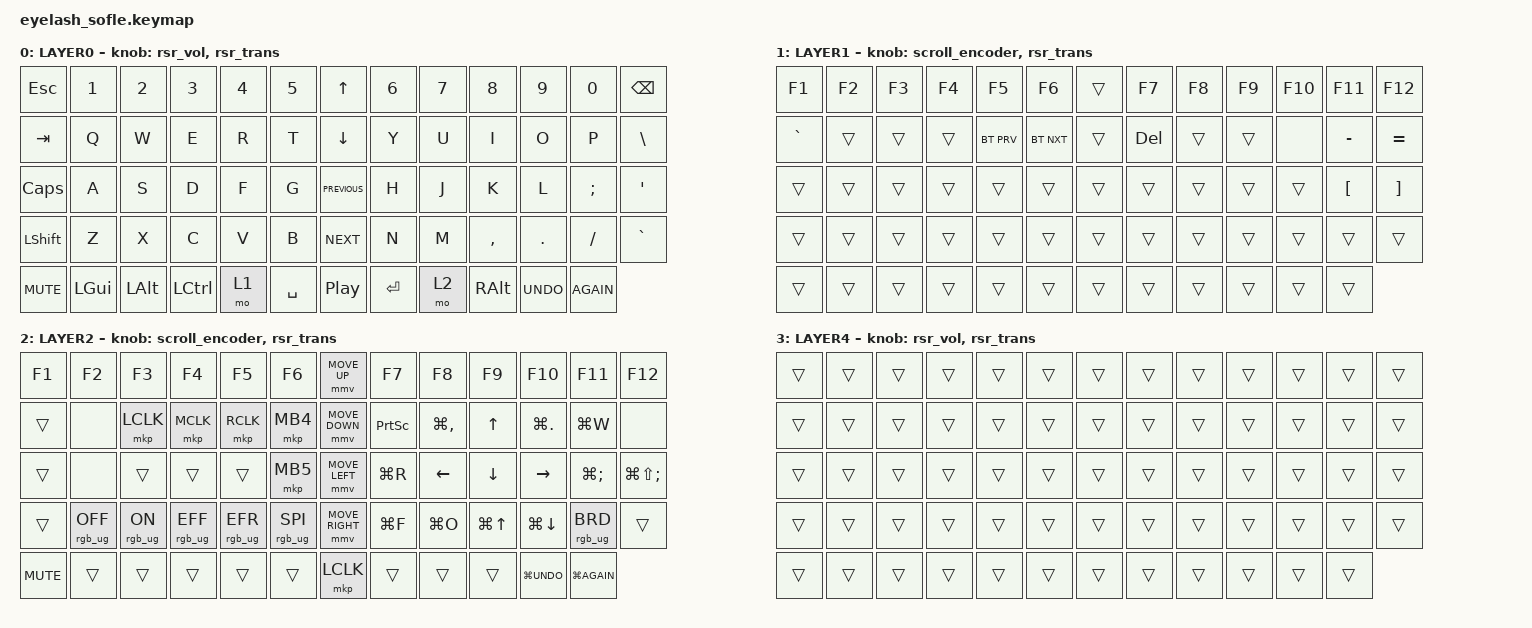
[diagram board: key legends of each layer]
#define ZMK_POINTING_DEFAULT_MOVE_VAL 1200  // 600
#define ZMK_POINTING_DEFAULT_SCRL_VAL 25   // 10

#include <input/processors.dtsi>
#include <zephyr/dt-bindings/input/input-event-codes.h>
#include <behaviors/runtime-sensor-rotate.dtsi>
#include <behaviors.dtsi>
#include <dt-bindings/zmk/bt.h>
#include <dt-bindings/zmk/keys.h>
#include <dt-bindings/zmk/pointing.h>
#include <dt-bindings/zmk/rgb.h>

&mmv_input_listener { input-processors = <&zip_xy_scaler 2 1>; };

&msc_input_listener { input-processors = <&zip_scroll_scaler 2 1>; };

&msc {
    acceleration-exponent = <1>;      // 0
    time-to-max-speed-ms = <100>;       // 300
    delay-ms = <0>;                   // 0
};

&mmv {
    time-to-max-speed-ms = <500>;
    acceleration-exponent = <1>;
    trigger-period-ms = <16>;
};

&soft_off { hold-time-ms = <2000>; };

/ {
    scroll_encoder: scroll_encoder {
        compatible = "zmk,behavior-sensor-rotate";
        #sensor-binding-cells = <0>;
        bindings = <&msc SCRL_DOWN>, <&msc SCRL_UP>;

        tap-ms = <100>;
    };

    behaviors {
        rsr_vol: rsr_vol {
            compatible = "zmk,behavior-runtime-sensor-rotate";
            #sensor-binding-cells = <0>;
            tap-ms = <5>;
            cw-binding = <&kp C_VOL_UP>;
            ccw-binding = <&kp C_VOL_DN>;
        };

        rsr_trans: rsr_trans {
            compatible = "zmk,behavior-runtime-sensor-rotate";
            #sensor-binding-cells = <0>;
            tap-ms = <0>;
        };
    };

    combos {
        compatible = "zmk,combos";

        softoff {
            bindings = <&soft_off>;
            key-positions = <14 28 40>;
        };

        rgb {
            bindings = <&rgb_ug RGB_TOG>;
            key-positions = <57 59>;
        };
    };

    macros {
        SHIFT_MCLK: SHIFT_MCLK {
            compatible = "zmk,behavior-macro";
            #binding-cells = <0>;
            bindings =
                <&macro_press>,
                <&kp LEFT_SHIFT>,
                <&macro_press>,
                <&mkp MB3>,
                <&macro_pause_for_release>,
                <&macro_release>,
                <&kp LEFT_SHIFT &mkp MB3>;

            label = "SHIFT_MCLK";
        };
    };

    keymap {
        compatible = "zmk,keymap";

        base {
            bindings = <
&kp ESC     &kp N1        &kp N2        &kp N3     &kp N4  &kp N5       &kp UP_ARROW      &kp N6     &kp N7  &kp N8         &kp N9      &kp N0       &kp BACKSPACE
&kp TAB     &kp Q         &kp W         &kp E      &kp R   &kp T        &kp DOWN_ARROW    &kp Y      &kp U   &kp I          &kp O       &kp P        &kp BSLH
&kp CAPS    &kp A         &kp S         &kp D      &kp F   &kp G        &kp K_PREVIOUS    &kp H      &kp J   &kp K          &kp L       &kp SEMI     &kp APOS
&kp LSHFT   &kp Z         &kp X         &kp C      &kp V   &kp B        &kp C_NEXT        &kp N      &kp M   &kp COMMA      &kp DOT     &kp FSLH     &kp GRAVE
&kp C_MUTE  &kp LEFT_GUI  &kp LEFT_ALT  &kp LCTRL  &mo 1   &kp SPACE    &kp C_PLAY_PAUSE  &kp ENTER  &mo 2   &kp RIGHT_ALT  &kp K_UNDO  &kp K_AGAIN
            >;

            sensor-bindings = <&rsr_vol &rsr_trans>;
            display-name = "LAYER0";
        };

        Symbols_Others {
            bindings = <
&kp F1     &kp F2  &kp F3  &kp F4  &kp F5      &kp F6        &trans  &kp F7      &kp F8  &kp F9  &kp F10  &kp F11    &kp F12
&kp GRAVE  &trans  &trans  &trans  &bt BT_PRV  &bt BT_NXT    &trans  &kp DELETE  &trans  &trans  &none    &kp MINUS  &kp EQUAL
&trans     &trans  &trans  &trans  &trans      &trans        &trans  &trans      &trans  &trans  &trans   &kp LBKT   &kp RBKT
&trans     &trans  &trans  &trans  &trans      &trans        &trans  &trans      &trans  &trans  &trans   &trans     &trans
&trans     &trans  &trans  &trans  &trans      &trans        &trans  &trans      &trans  &trans  &trans   &trans
            >;

            display-name = "LAYER1";
            sensor-bindings = <&scroll_encoder>, <&rsr_trans>;
        };

        movement {
            bindings = <
&kp F1      &kp F2           &kp F3          &kp F4           &kp F5           &kp F6             &mmv MOVE_UP     &kp F7           &kp F8         &kp F9      &kp F10         &kp F11          &kp F12
&trans      &none            &mkp LCLK       &mkp MCLK        &mkp RCLK        &mkp MB4           &mmv MOVE_DOWN   &kp PRINTSCREEN  &kp LG(COMMA)  &kp UP      &kp LG(DOT)     &kp LG(W)        &none
&trans      &none            &trans          &trans           &trans           &mkp MB5           &mmv MOVE_LEFT   &kp LG(R)        &kp LEFT       &kp DOWN    &kp RIGHT       &kp LG(SEMI)     &kp LG(LS(SEMI))
&trans      &rgb_ug RGB_OFF  &rgb_ug RGB_ON  &rgb_ug RGB_EFF  &rgb_ug RGB_EFR  &rgb_ug RGB_SPI    &mmv MOVE_RIGHT  &kp LG(F)        &kp LG(O)      &kp LG(UP)  &kp LG(DOWN)    &rgb_ug RGB_BRD  &trans
&kp C_MUTE  &trans           &trans          &trans           &trans           &trans             &mkp LCLK        &trans           &trans         &trans      &kp LG(K_UNDO)  &kp LG(K_AGAIN)
            >;

            sensor-bindings = <&scroll_encoder>, <&rsr_trans>;

            display-name = "LAYER2";
        };

        layer_4 {
            bindings = <
&trans  &trans  &trans  &trans  &trans  &trans    &trans  &trans  &trans  &trans  &trans  &trans  &trans
&trans  &trans  &trans  &trans  &trans  &trans    &trans  &trans  &trans  &trans  &trans  &trans  &trans
&trans  &trans  &trans  &trans  &trans  &trans    &trans  &trans  &trans  &trans  &trans  &trans  &trans
&trans  &trans  &trans  &trans  &trans  &trans    &trans  &trans  &trans  &trans  &trans  &trans  &trans
&trans  &trans  &trans  &trans  &trans  &trans    &trans  &trans  &trans  &trans  &trans  &trans
            >;

            display-name = "LAYER4";
            sensor-bindings = <&rsr_vol &rsr_trans>;
        };
    };
};
